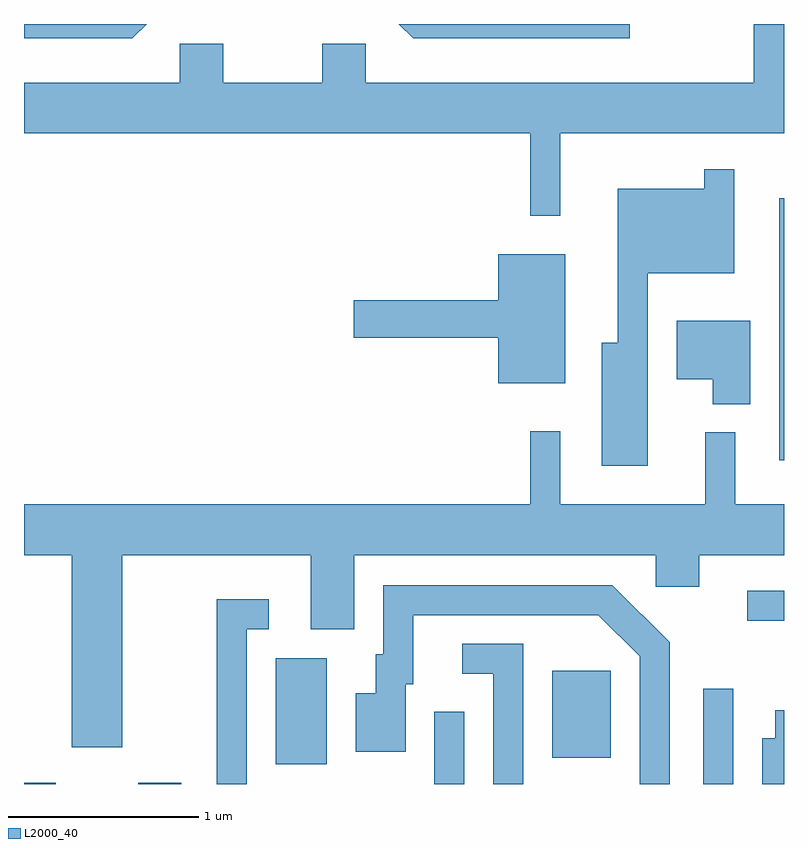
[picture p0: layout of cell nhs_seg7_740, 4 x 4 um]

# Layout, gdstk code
import gdstk
lib = gdstk.Library(unit=1e-6, precision=1e-09)
def R(c, l, rs):  # rectangles x0, y0, x1, y1
    for r in rs: c.add(gdstk.rectangle(r[:2], r[2:], *l))
def P(c, l, *ps):  # polygons
    for p in ps: c.add(gdstk.Polygon(p, *l))
L2000_40 = (2000, 40)

nhs_seg7_740 = lib.new_cell('nhs_seg7_740')
R(nhs_seg7_740, L2000_40, [(207.611,1684.252,207.779,1684.259), (208.211,1684.252,208.439,1684.259), (209.771,1684.252,209.929,1684.633), (211.186,1684.252,211.344,1684.753), (208.936,1684.356,209.204,1684.914), (210.391,1684.391,210.699,1684.849), (211.418,1685.111,211.611,1685.269), (211.586,1685.956,211.611,1687.334)])
P(nhs_seg7_740, L2000_40, [(210.434,1687.676),(211.611,1687.676),(211.611,1688.252),(211.451,1688.252),(211.451,1687.944),(209.409,1687.944),(209.409,1688.149),(209.181,1688.149),(209.181,1687.944),(208.659,1687.944),(208.659,1688.149),(208.431,1688.149),(208.431,1687.944),(207.611,1687.944),(207.611,1687.676),(210.276,1687.676),(210.276,1687.243),(210.434,1687.243)],
  [(210.798,1688.252),(209.583,1688.252),(209.659,1688.176),(210.798,1688.176)],
  [(208.258,1688.252),(207.611,1688.252),(207.611,1688.176),(208.182,1688.176)],
  [(210.894,1686.941),(211.349,1686.941),(211.349,1687.488),(211.191,1687.488),(211.191,1687.384),(210.736,1687.384),(210.736,1686.574),(210.651,1686.574),(210.651,1685.926),(210.894,1685.926)],
  [(210.459,1687.039),(210.106,1687.039),(210.106,1686.799),(209.346,1686.799),(209.346,1686.601),(210.106,1686.601),(210.106,1686.361),(210.459,1686.361)],
  [(211.434,1686.689),(211.046,1686.689),(211.046,1686.381),(211.236,1686.381),(211.236,1686.251),(211.434,1686.251)],
  [(208.129,1685.456),(209.121,1685.456),(209.121,1685.066),(209.349,1685.066),(209.349,1685.456),(210.936,1685.456),(210.936,1685.291),(211.164,1685.291),(211.164,1685.456),(211.611,1685.456),(211.611,1685.724),(211.354,1685.724),(211.354,1686.103),(211.196,1686.103),(211.196,1685.724),(210.434,1685.724),(210.434,1686.108),(210.276,1686.108),(210.276,1685.724),(207.611,1685.724),(207.611,1685.456),(207.861,1685.456),(207.861,1684.446),(208.129,1684.446)],
  [(211.009,1684.997),(210.707,1685.299),(209.501,1685.299),(209.501,1684.934),(209.461,1684.934),(209.461,1684.729),(209.356,1684.729),(209.356,1684.421),(209.619,1684.421),(209.619,1684.776),(209.659,1684.776),(209.659,1685.141),(210.634,1685.141),(210.851,1684.924),(210.851,1684.252),(211.009,1684.252)],
  [(208.784,1685.066),(208.898,1685.066),(208.898,1685.224),(208.626,1685.224),(208.626,1684.252),(208.784,1684.252)],
  [(210.239,1684.989),(209.918,1684.989),(209.918,1684.831),(210.081,1684.831),(210.081,1684.252),(210.239,1684.252)],
  [(211.611,1684.639),(211.566,1684.639),(211.566,1684.494),(211.496,1684.494),(211.496,1684.252),(211.611,1684.252)])

lib.write_gds('nhs_seg7_740.gds')
